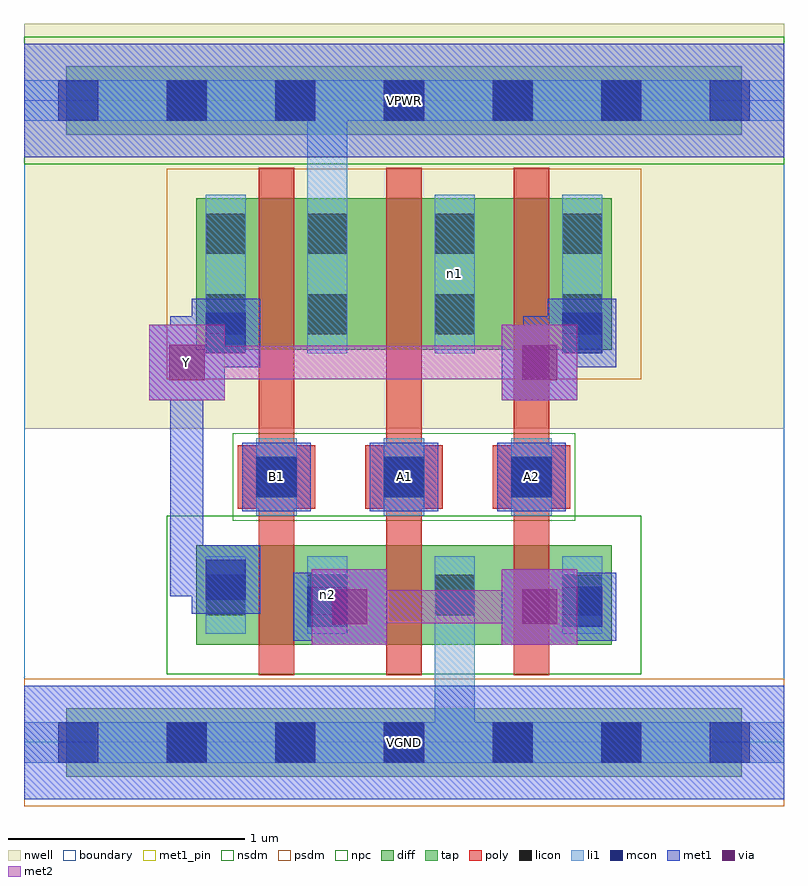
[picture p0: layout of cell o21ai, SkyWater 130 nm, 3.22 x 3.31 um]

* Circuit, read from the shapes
.subckt o21ai A1 A2 B1 VGND VPWR Y n1 n2
XM1 n2 B1 Y VGND sky130_fd_pr__nfet_01v8 w=0.42 l=0.15
XM2 VGND A1 n2 VGND sky130_fd_pr__nfet_01v8 w=0.42 l=0.15
XM3 n2 A2 VGND VGND sky130_fd_pr__nfet_01v8 w=0.42 l=0.15
XM4 VPWR B1 Y VPWR sky130_fd_pr__pfet_01v8 w=0.64 l=0.15
XM5 n1 A1 VPWR VPWR sky130_fd_pr__pfet_01v8 w=0.64 l=0.15
XM6 Y A2 n1 VPWR sky130_fd_pr__pfet_01v8 w=0.64 l=0.15
.ends

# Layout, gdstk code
import gdstk
lib = gdstk.Library(unit=1e-6, precision=1e-09)
def R(c, l, rs):  # rectangles x0, y0, x1, y1
    for r in rs: c.add(gdstk.rectangle(r[:2], r[2:], *l))
def A(c, l, x, y, w, h, nx, ny, dx, dy):  # array of equal rectangles
    R(c, l, [(x+i*dx, y+j*dy, x+i*dx+w, y+j*dy+h) for i in range(nx) for j in range(ny)])
nwell = (64, 20)
diff = (65, 20)
tap = (65, 44)
poly = (66, 20)
licon = (66, 44)
li1 = (67, 20)
mcon = (67, 44)
met1_pin = (68, 16)
met1 = (68, 20)
via = (68, 44)
met2 = (69, 20)
nsdm = (93, 44)
psdm = (94, 20)
npc = (95, 20)
boundary = (235, 4)

o21ai = lib.new_cell('o21ai')
R(o21ai, nwell, [(0,1.33,3.22,3.045)])
R(o21ai, diff, [(0.73,0.415,2.49,0.835), (0.73,1.665,2.49,2.305)])
R(o21ai, tap, [(0.18,-0.145,3.04,0.145), (0.18,2.575,3.04,2.865)])
A(o21ai, poly, 0.995, 0.285, 0.15, 2.15, 3, 1, 0.54, 0)
A(o21ai, poly, 0.905, 0.99, 0.33, 0.27, 3, 1, 0.54, 0)
A(o21ai, licon, 0.605, -0.085, 0.17, 0.17, 5, 2, 0.46, 2.72)
A(o21ai, licon, 1.2, 0.54, 0.17, 0.17, 3, 2, 0.54, 1.19)
A(o21ai, licon, 0.985, 1.04, 0.17, 0.17, 3, 1, 0.54, 0)
A(o21ai, licon, 1.2, 2.07, 0.17, 0.17, 3, 1, 0.54, 0)
R(o21ai, licon, [(0.77,0.54,0.94,0.71), (0.77,1.73,0.94,1.9), (0.77,2.07,0.94,2.24)])
A(o21ai, li1, 1.2, 0.46, 0.17, 0.33, 3, 1, 0.54, 0)
A(o21ai, li1, 0.985, 0.96, 0.17, 0.33, 3, 1, 0.54, 0)
A(o21ai, li1, 1.2, 1.65, 0.17, 0.67, 3, 1, 0.54, 0)
R(o21ai, li1, [(0,-0.085,3.22,0.085), (1.74,-0.085,1.91,0.79), (0.77,0.46,0.94,0.79), (0.77,1.65,0.94,2.32), (1.2,1.65,1.37,2.805), (0,2.635,3.22,2.805)])
A(o21ai, mcon, 0.145, -0.085, 0.17, 0.17, 7, 2, 0.46, 2.72)
A(o21ai, mcon, 0.985, 1.04, 0.17, 0.17, 3, 1, 0.54, 0)
R(o21ai, mcon, [(1.2,0.49,1.37,0.66), (2.28,0.49,2.45,0.66), (0.77,0.605,0.94,0.775), (0.77,1.65,0.94,1.82), (2.28,1.65,2.45,1.82)])
A(o21ai, met1_pin, 0.925, 0.98, 0.29, 0.29, 3, 1, 0.54, 0)
R(o21ai, met1_pin, [(0,-0.24,3.22,0.24), (0.53,1.45,0.85,1.77), (0,2.48,3.22,2.96)])
A(o21ai, met1, 0.925, 0.98, 0.29, 0.29, 3, 1, 0.54, 0)
R(o21ai, met1, [(0,-0.24,3.22,0.24), (1.22,0.415,1.54,0.735), (2.025,0.415,2.345,0.735), (1.14,0.43,1.43,0.72), (2.22,0.43,2.51,0.72), (1.215,0.505,1.45,0.645), (2.115,0.505,2.435,0.645), (0.71,0.545,1,0.835), (0.62,0.62,0.925,0.76), (0.62,0.62,0.76,1.68), (0.53,1.45,0.85,1.77), (2.025,1.45,2.345,1.77), (0.62,1.54,0.76,1.805), (2.115,1.54,2.255,1.805), (0.71,1.59,1,1.88), (2.22,1.59,2.51,1.88), (0.62,1.665,0.925,1.805), (2.115,1.665,2.435,1.805), (0,2.48,3.22,2.96)])
R(o21ai, via, [(1.305,0.5,1.455,0.65), (2.11,0.5,2.26,0.65), (0.615,1.535,0.765,1.685), (2.11,1.535,2.26,1.685)])
R(o21ai, met2, [(1.22,0.415,1.54,0.735), (2.025,0.415,2.345,0.735), (1.31,0.505,2.255,0.645), (0.53,1.45,0.85,1.77), (2.025,1.45,2.345,1.77), (0.62,1.54,2.255,1.68)])
R(o21ai, nsdm, [(0.605,0.29,2.615,0.96), (0,2.45,3.22,2.99)])
R(o21ai, psdm, [(0,-0.27,3.22,0.27), (0.605,1.54,2.615,2.43)])
R(o21ai, npc, [(0.885,0.94,2.335,1.31)])
R(o21ai, boundary, [(0,0,3.22,2.72)])
o21ai.add(gdstk.Label('n1', (1.825,1.985), layer=67, texttype=5))
o21ai.add(gdstk.Label('n2', (1.285,0.625), layer=67, texttype=5))
o21ai.add(gdstk.Label('A1', (1.61,1.125), layer=68, texttype=5))
o21ai.add(gdstk.Label('A2', (2.15,1.125), layer=68, texttype=5))
o21ai.add(gdstk.Label('B1', (1.07,1.125), layer=68, texttype=5))
o21ai.add(gdstk.Label('Y', (0.69,1.61), layer=68, texttype=5))
o21ai.add(gdstk.Label('VPWR', (1.61,2.72), layer=68, texttype=5))
o21ai.add(gdstk.Label('VGND', (1.61,0), layer=68, texttype=5))
o21ai.add(gdstk.Label('A1', (1.61,1.125), layer=68, texttype=16))
o21ai.add(gdstk.Label('A2', (2.15,1.125), layer=68, texttype=16))
o21ai.add(gdstk.Label('B1', (1.07,1.125), layer=68, texttype=16))
o21ai.add(gdstk.Label('Y', (0.69,1.61), layer=68, texttype=16))
o21ai.add(gdstk.Label('VPWR', (1.61,2.72), layer=68, texttype=16))
o21ai.add(gdstk.Label('VGND', (1.61,0), layer=68, texttype=16))

lib.write_gds('o21ai.gds')
